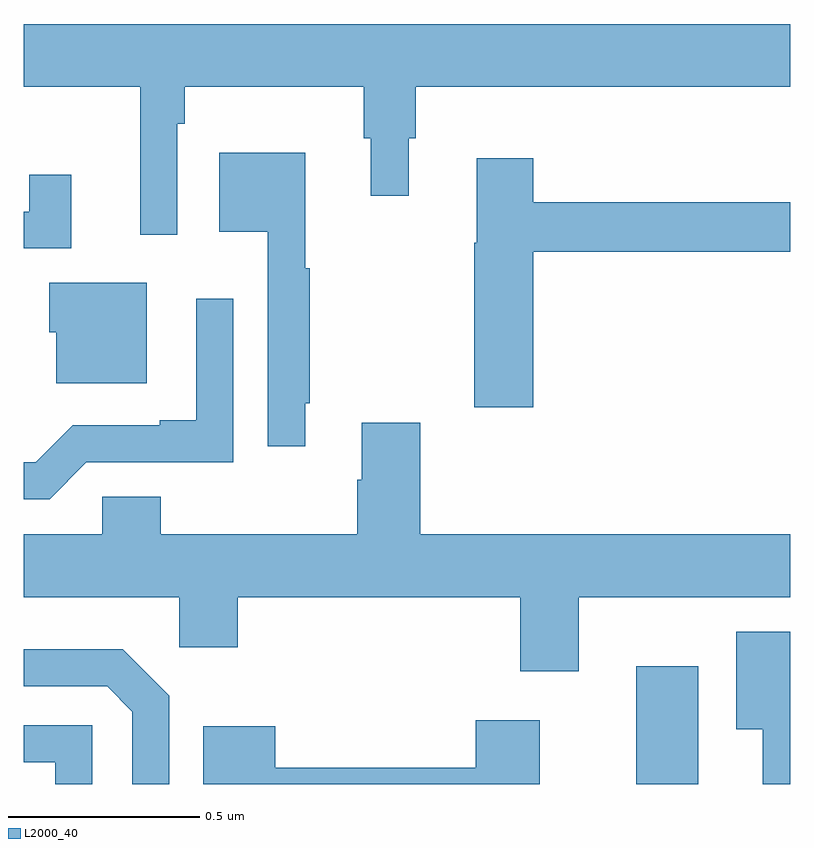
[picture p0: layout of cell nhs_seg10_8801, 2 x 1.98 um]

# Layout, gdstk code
import gdstk
lib = gdstk.Library(unit=1e-6, precision=1e-09)
def R(c, l, rs):  # rectangles x0, y0, x1, y1
    for r in rs: c.add(gdstk.rectangle(r[:2], r[2:], *l))
def P(c, l, *ps):  # polygons
    for p in ps: c.add(gdstk.Polygon(p, *l))
L2000_40 = (2000, 40)

nhs_seg10_8801 = lib.new_cell('nhs_seg10_8801')
R(nhs_seg10_8801, L2000_40, [(222.599,1294.5,222.76,1294.807)])
P(nhs_seg10_8801, L2000_40, [(221.4,1296.224),(221.42,1296.224),(221.42,1296.32),(221.887,1296.32),(221.887,1296.186),(221.906,1296.186),(221.906,1296.036),(222.004,1296.036),(222.004,1296.186),(222.023,1296.186),(222.023,1296.32),(223,1296.32),(223,1296.484),(221,1296.484),(221,1296.32),(221.303,1296.32),(221.303,1295.934),(221.4,1295.934)],
  [(221.734,1295.494),(221.746,1295.494),(221.746,1295.846),(221.734,1295.846),(221.734,1296.148),(221.51,1296.148),(221.51,1295.942),(221.637,1295.942),(221.637,1295.382),(221.734,1295.382)],
  [(222.329,1295.89),(223,1295.89),(223,1296.019),(222.329,1296.019),(222.329,1296.133),(222.182,1296.133),(222.182,1295.913),(222.175,1295.913),(222.175,1295.484),(222.329,1295.484)],
  [(221.123,1296.091),(221.014,1296.091),(221.014,1295.994),(221,1295.994),(221,1295.898),(221.123,1295.898)],
  [(221.32,1295.809),(221.066,1295.809),(221.066,1295.679),(221.084,1295.679),(221.084,1295.546),(221.32,1295.546)],
  [(221.163,1295.34),(221.547,1295.34),(221.547,1295.767),(221.45,1295.767),(221.45,1295.449),(221.354,1295.449),(221.354,1295.436),(221.127,1295.436),(221.031,1295.34),(221,1295.34),(221,1295.244),(221.067,1295.244)],
  [(222.448,1294.988),(223,1294.988),(223,1295.152),(222.035,1295.152),(222.035,1295.443),(221.882,1295.443),(221.882,1295.294),(221.87,1295.294),(221.87,1295.152),(221.357,1295.152),(221.357,1295.25),(221.205,1295.25),(221.205,1295.152),(221,1295.152),(221,1294.988),(221.406,1294.988),(221.406,1294.857),(221.558,1294.857),(221.558,1294.988),(222.296,1294.988),(222.296,1294.794),(222.448,1294.794)],
  [(223,1294.897),(222.86,1294.897),(222.86,1294.643),(222.929,1294.643),(222.929,1294.5),(223,1294.5)],
  [(221.379,1294.731),(221.258,1294.852),(221,1294.852),(221,1294.755),(221.217,1294.755),(221.283,1294.689),(221.283,1294.5),(221.379,1294.5)],
  [(222.346,1294.666),(222.179,1294.666),(222.179,1294.542),(221.656,1294.542),(221.656,1294.651),(221.468,1294.651),(221.468,1294.5),(222.346,1294.5)],
  [(221.178,1294.653),(221,1294.653),(221,1294.557),(221.082,1294.557),(221.082,1294.5),(221.178,1294.5)])

lib.write_gds('nhs_seg10_8801.gds')
